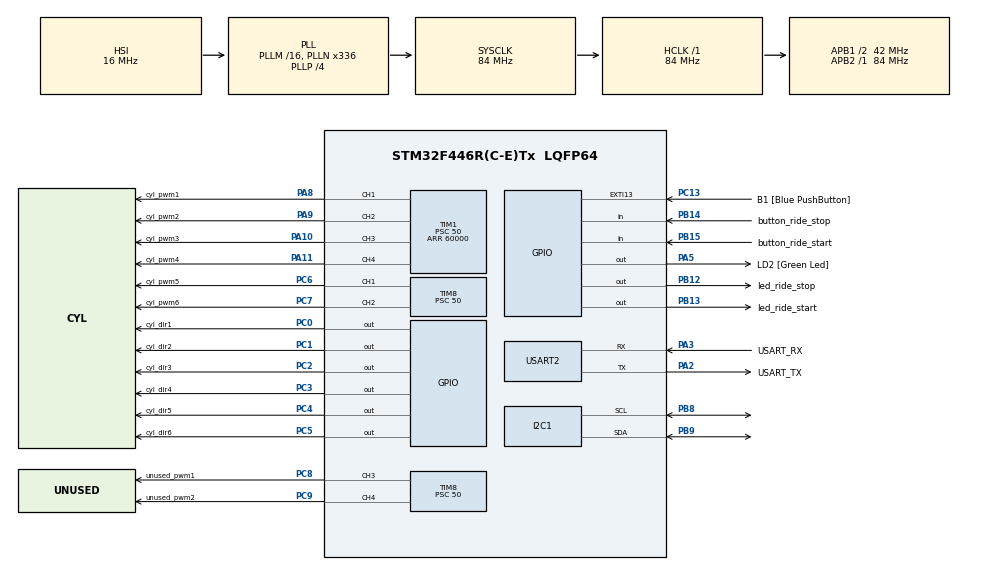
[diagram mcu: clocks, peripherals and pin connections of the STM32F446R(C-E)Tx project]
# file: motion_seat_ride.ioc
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Mcu.Family=STM32F4
Mcu.Name=STM32F446R(C-E)Tx
Mcu.Package=LQFP64
NVIC.PriorityGroup=NVIC_PRIORITYGROUP_0
PA10.GPIO_Label=cyl_pwm3
PA10.GPIO_ModeDefaultPP=GPIO_MODE_AF_OD
PA10.GPIO_PuPd=GPIO_NOPULL
PA10.GPIO_Speed=GPIO_SPEED_FREQ_LOW
PA10.Signal=S_TIM1_CH3
PA11.GPIO_Label=cyl_pwm4
PA11.GPIO_ModeDefaultPP=GPIO_MODE_AF_OD
PA11.GPIO_PuPd=GPIO_NOPULL
PA11.GPIO_Speed=GPIO_SPEED_FREQ_LOW
PA11.Signal=S_TIM1_CH4
PA13.GPIO_Label=TMS
PA13.Mode=JTAG_4_pins
PA13.Signal=SYS_JTMS-SWDIO
PA14.GPIO_Label=TCK
PA14.Mode=JTAG_4_pins
PA14.Signal=SYS_JTCK-SWCLK
PA15.Mode=JTAG_4_pins
PA15.Signal=SYS_JTDI
PA2.GPIO_Label=USART_TX
PA2.Mode=Asynchronous
PA2.Signal=USART2_TX
PA3.GPIO_Label=USART_RX
PA3.Mode=Asynchronous
PA3.Signal=USART2_RX
PA5.GPIO_Label=LD2 [Green Led]
PA5.Signal=GPIO_Output
PA8.GPIO_Label=cyl_pwm1
PA8.GPIO_ModeDefaultPP=GPIO_MODE_AF_OD
PA8.GPIO_PuPd=GPIO_NOPULL
PA8.GPIO_Speed=GPIO_SPEED_FREQ_LOW
PA8.Signal=S_TIM1_CH1
PA9.GPIO_Label=cyl_pwm2
PA9.GPIO_ModeDefaultPP=GPIO_MODE_AF_OD
PA9.GPIO_PuPd=GPIO_NOPULL
PA9.GPIO_Speed=GPIO_SPEED_FREQ_LOW
PA9.Signal=S_TIM1_CH2
PB12.GPIO_Label=led_ride_stop
PB12.Signal=GPIO_Output
PB13.GPIO_Label=led_ride_start
PB13.Signal=GPIO_Output
PB14.GPIO_Label=button_ride_stop
PB14.GPIO_PuPd=GPIO_PULLDOWN
PB14.Signal=GPIO_Input
PB15.GPIO_Label=button_ride_start
PB15.GPIO_PuPd=GPIO_PULLDOWN
PB15.Signal=GPIO_Input
PB3.GPIO_Label=SWO
PB3.Mode=JTAG_4_pins
PB3.Signal=SYS_JTDO-SWO
PB8.GPIO_Pu=GPIO_NOPULL
PB8.Mode=I2C
PB8.Signal=I2C1_SCL
PB9.GPIO_Pu=GPIO_NOPULL
PB9.Mode=I2C
PB9.Signal=I2C1_SDA
PC0.GPIO_Label=cyl_dir1
PC0.GPIO_ModeDefaultOutputPP=GPIO_MODE_OUTPUT_OD
PC0.GPIO_PuPd=GPIO_NOPULL
PC0.Signal=GPIO_Output
PC1.GPIO_Label=cyl_dir2
PC1.GPIO_ModeDefaultOutputPP=GPIO_MODE_OUTPUT_OD
PC1.GPIO_PuPd=GPIO_NOPULL
PC1.Signal=GPIO_Output
PC13.GPIO_Label=B1 [Blue PushButton]
PC13.GPIO_ModeDefaultEXTI=GPIO_MODE_IT_FALLING
PC13.Signal=GPXTI13
PC14-OSC32_IN.Signal=RCC_OSC32_IN
PC15-OSC32_OUT.Signal=RCC_OSC32_OUT
PC2.GPIO_Label=cyl_dir3
PC2.GPIO_ModeDefaultOutputPP=GPIO_MODE_OUTPUT_OD
PC2.GPIO_PuPd=GPIO_NOPULL
PC2.Signal=GPIO_Output
PC3.GPIO_Label=cyl_dir4
PC3.GPIO_ModeDefaultOutputPP=GPIO_MODE_OUTPUT_OD
PC3.GPIO_PuPd=GPIO_NOPULL
PC3.Signal=GPIO_Output
PC4.GPIO_Label=cyl_dir5
PC4.GPIO_ModeDefaultOutputPP=GPIO_MODE_OUTPUT_OD
PC4.GPIO_PuPd=GPIO_NOPULL
PC4.Signal=GPIO_Output
PC5.GPIO_Label=cyl_dir6
PC5.GPIO_ModeDefaultOutputPP=GPIO_MODE_OUTPUT_OD
PC5.GPIO_PuPd=GPIO_NOPULL
PC5.Signal=GPIO_Output
PC6.GPIO_Label=cyl_pwm5
PC6.GPIO_ModeDefaultPP=GPIO_MODE_AF_OD
PC6.GPIO_PuPd=GPIO_NOPULL
PC6.GPIO_Speed=GPIO_SPEED_FREQ_LOW
PC6.Signal=S_TIM8_CH1
PC7.GPIO_Label=cyl_pwm6
PC7.GPIO_ModeDefaultPP=GPIO_MODE_AF_OD
PC7.GPIO_PuPd=GPIO_NOPULL
PC7.GPIO_Speed=GPIO_SPEED_FREQ_LOW
PC7.Signal=S_TIM8_CH2
PC8.GPIO_Label=unused_pwm1
PC8.GPIO_ModeDefaultPP=GPIO_MODE_AF_OD
PC8.GPIO_PuPd=GPIO_NOPULL
PC8.GPIO_Speed=GPIO_SPEED_FREQ_LOW
PC8.Signal=S_TIM8_CH3
PC9.GPIO_Label=unused_pwm2
PC9.GPIO_ModeDefaultPP=GPIO_MODE_AF_OD
PC9.GPIO_PuPd=GPIO_NOPULL
PC9.GPIO_Speed=GPIO_SPEED_FREQ_LOW
PC9.Signal=S_TIM8_CH4
PH0-OSC_IN.Signal=RCC_OSC_IN
PH1-OSC_OUT.Signal=RCC_OSC_OUT
ProjectManager.HeapSize=0x200
ProjectManager.StackSize=0x400
ProjectManager.TargetToolchain=Makefile
RCC.AHBFreq_Value=84000000
RCC.APB1CLKDivider=RCC_HCLK_DIV2
RCC.APB1Freq_Value=42000000
RCC.APB1TimFreq_Value=84000000
RCC.APB2Freq_Value=84000000
RCC.APB2TimFreq_Value=84000000
RCC.CortexFreq_Value=84000000
RCC.FLatency-AdvancedSettings=FLASH_LATENCY_2
RCC.HCLKFreq_Value=84000000
RCC.HSE_VALUE=8000000
RCC.HSI_VALUE=16000000
RCC.LSE_VALUE=32768
RCC.PLLN=336
RCC.PLLP=RCC_PLLP_DIV4
RCC.SYSCLKFreq_VALUE=84000000
RCC.SYSCLKSource=RCC_SYSCLKSOURCE_PLLCLK
RCC.USBFreq_Value=168000000
RCC.VCOOutputFreq_Value=336000000
SH.S_TIM1_CH1.0=TIM1_CH1,PWM Generation1 CH1
SH.S_TIM1_CH2.0=TIM1_CH2,PWM Generation2 CH2
SH.S_TIM1_CH3.0=TIM1_CH3,PWM Generation3 CH3
SH.S_TIM1_CH4.0=TIM1_CH4,PWM Generation4 CH4
SH.S_TIM8_CH1.0=TIM8_CH1,PWM Generation1 CH1
SH.S_TIM8_CH2.0=TIM8_CH2,Output Compare2 CH2
SH.S_TIM8_CH3.0=TIM8_CH3,Output Compare3 CH3
SH.S_TIM8_CH4.0=TIM8_CH4,Output Compare4 CH4
TIM1.Channel-PWM\ Generation1\ CH1=TIM_CHANNEL_1
TIM1.Channel-PWM\ Generation2\ CH2=TIM_CHANNEL_2
TIM1.Channel-PWM\ Generation3\ CH3=TIM_CHANNEL_3
TIM1.Channel-PWM\ Generation4\ CH4=TIM_CHANNEL_4
TIM1.ClockDivision=TIM_CLOCKDIVISION_DIV1
TIM1.Period=60000
TIM1.Prescaler=50
TIM8.Channel-Output\ Compare2\ CH2=TIM_CHANNEL_2
TIM8.Channel-Output\ Compare3\ CH3=TIM_CHANNEL_3
TIM8.Channel-Output\ Compare4\ CH4=TIM_CHANNEL_4
TIM8.Channel-PWM\ Generation1\ CH1=TIM_CHANNEL_1
TIM8.Period=60000
TIM8.Prescaler=50
USART2.VirtualMode=VM_ASYNC
VP_TIM1_VS_ClockSourceINT.Mode=Internal
VP_TIM8_VS_ClockSourceINT.Mode=Internal
board=NUCLEO-F446RE

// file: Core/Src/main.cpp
/**
  ******************************************************************************
  * @file           : main.cpp
  * @brief          : Main program body
  * @authors Paul Sampson and Kelvin Hoang
  ******************************************************************************
  */

#include <math.h>
#include <stdio.h>
#include <string.h>
#include "stm32f4xx_hal.h"
#include "main.h"
#include "matrixdefs.h"
#include "controller.h"
#include "stewart.h"
#include "distGovernor.h"
#include "cylGovernor.h"

I2C_HandleTypeDef hi2c1;
UART_HandleTypeDef huart2;
TIM_HandleTypeDef htim1;
TIM_HandleTypeDef htim8;

void SystemClock_Config(void);
static void MX_GPIO_Init(void);
static void MX_USART2_UART_Init(void);
static void MX_TIM1_Init(void);
static void MX_TIM8_Init(void);
static void MX_I2C1_Init(void);

uint8_t myState = 0;

int main(void)
{
  /* USER CODE BEGIN 1 */
  Stewart stew;
  fArr3 rpyInitial = {0,0,0};
  fArr3 rpyFinal = {0.314, 0.128, 0.981};
  fArr6 lengthsInitial = stew.xfmLinPos(rpyInitial);
  fArr6 lengthsFinal = stew.xfmLinPos(rpyFinal);
  Controller myCtrl;
  CylGov myCG;
  DistGov myDG(hi2c1);

  //myDG.e_fuse_run(0, 0x10);

  //myDI.e_fuse_run(0x10);

  /* USER CODE END 1 */

  /* MCU Configuration--------------------------------------------------------*/

  /* Reset of all peripherals, Initializes the Flash interface and the Systick. */
  HAL_Init();

  /* Configure the system clock */
  SystemClock_Config();

  /* Initialize all configured peripherals */
  MX_GPIO_Init();
  MX_USART2_UART_Init();
  MX_TIM1_Init();
  MX_TIM8_Init();
  MX_I2C1_Init();

  /* USER CODE BEGIN 2 */
  HAL_TIM_PWM_Start(&htim1, TIM_CHANNEL_1);
  //HAL_TIM_PWM_Start(&htim8, TIM_CHANNEL_ALL);
  fArr6 lengths = lengthsInitial;
  std::array<char,500> uart_buf;
  unsigned int uart_buf_len = 0;

  /* USER CODE END 2 */

  /* Infinite loop */
  /* USER CODE BEGIN WHILE */
  long timeNow = 0;
  long timeLast = 0;
  const long interval = 30000;
  while(true)
  {
    timeNow = HAL_GetTick();
    if(timeNow-timeLast > interval) {
      switch(myState) {
        case 0:
          lengthsFinal[0]=27;
          myState++;
          break;
        case 1:
          lengthsFinal[0]=17;
          myState++;
          break;
        case 2:
          lengthsFinal[0]=22;
          myState = 0;
          break;
      }
      timeLast = timeNow;
    }

    lengths = myDG.readDistances();
    fArr6 lStep = myCtrl.step(lengthsFinal,lengths);
    myCG.setDutyCycles(lStep);

    for (uint8_t j = 0; j < 6; j++) {
      uart_buf_len += sprintf(uart_buf.data() + strlen(uart_buf.data()), "%3.2f ", lengths[j]);
    }
    uart_buf_len += sprintf(uart_buf.data() + strlen(uart_buf.data()), "\r\n");
    //uart_buf_len = sprintf(uart_buf.data(), "%3.2f %i %i \r\n", lStep[0], HAL_GPIO_ReadPin(GPIOA,GPIO_PIN_8),HAL_GPIO_ReadPin(GPIOC,GPIO_PIN_0));
    HAL_UART_Transmit(&huart2,(uint8_t *)uart_buf.data(), uart_buf_len, 100);
    uart_buf_len = 0;
    uart_buf.fill((char)0);
    HAL_Delay(25);
    /* USER CODE END WHILE */

  }

}

  __HAL_RCC_PWR_CLK_ENABLE();
  __HAL_PWR_VOLTAGESCALING_CONFIG(PWR_REGULATOR_VOLTAGE_SCALE3);

  /** Initializes the RCC Oscillators according to the specified parameters
  * in the RCC_OscInitTypeDef structure.
  */
  RCC_OscInitStruct.OscillatorType = RCC_OSCILLATORTYPE_HSI;
  RCC_OscInitStruct.HSIState = RCC_HSI_ON;
  RCC_OscInitStruct.HSICalibrationValue = RCC_HSICALIBRATION_DEFAULT;
  RCC_OscInitStruct.PLL.PLLState = RCC_PLL_ON;
  RCC_OscInitStruct.PLL.PLLSource = RCC_PLLSOURCE_HSI;
  RCC_OscInitStruct.PLL.PLLM = 16;
  RCC_OscInitStruct.PLL.PLLN = 336;
  RCC_OscInitStruct.PLL.PLLP = RCC_PLLP_DIV4;
  RCC_OscInitStruct.PLL.PLLQ = 2;
  RCC_OscInitStruct.PLL.PLLR = 2;
  if (HAL_RCC_OscConfig(&RCC_OscInitStruct) != HAL_OK)
  {
    Error_Handler();
  }

  /** Initializes the CPU, AHB and APB buses clocks
  */
  RCC_ClkInitStruct.ClockType = RCC_CLOCKTYPE_HCLK|RCC_CLOCKTYPE_SYSCLK
                              |RCC_CLOCKTYPE_PCLK1|RCC_CLOCKTYPE_PCLK2;
  RCC_ClkInitStruct.SYSCLKSource = RCC_SYSCLKSOURCE_PLLCLK;
  RCC_ClkInitStruct.AHBCLKDivider = RCC_SYSCLK_DIV1;
  RCC_ClkInitStruct.APB1CLKDivider = RCC_HCLK_DIV2;
  RCC_ClkInitStruct.APB2CLKDivider = RCC_HCLK_DIV1;

  if (HAL_RCC_ClockConfig(&RCC_ClkInitStruct, FLASH_LATENCY_2) != HAL_OK)
  {
    Error_Handler();
  }
}

static void MX_I2C1_Init(void)
{

  hi2c1.Instance = I2C1;
  hi2c1.Init.ClockSpeed = 100000;
  hi2c1.Init.DutyCycle = I2C_DUTYCYCLE_2;
  hi2c1.Init.OwnAddress1 = 0;
  hi2c1.Init.AddressingMode = I2C_ADDRESSINGMODE_7BIT;
  hi2c1.Init.DualAddressMode = I2C_DUALADDRESS_DISABLE;
  hi2c1.Init.OwnAddress2 = 0;
  hi2c1.Init.GeneralCallMode = I2C_GENERALCALL_DISABLE;
  hi2c1.Init.NoStretchMode = I2C_NOSTRETCH_DISABLE;
  if (HAL_I2C_Init(&hi2c1) != HAL_OK)
  {
    Error_Handler();
  }

}

static void MX_TIM1_Init(void)
{

  TIM_ClockConfigTypeDef sClockSourceConfig = {0};
  TIM_MasterConfigTypeDef sMasterConfig = {0};
  TIM_OC_InitTypeDef sConfigOC = {0};
  TIM_BreakDeadTimeConfigTypeDef sBreakDeadTimeConfig = {0};

  htim1.Instance = TIM1;
  htim1.Init.Prescaler = 100;
  htim1.Init.CounterMode = TIM_COUNTERMODE_UP;
  htim1.Init.Period = 60000;
  htim1.Init.ClockDivision = TIM_CLOCKDIVISION_DIV1;
  htim1.Init.RepetitionCounter = 0;
  htim1.Init.AutoReloadPreload = TIM_AUTORELOAD_PRELOAD_DISABLE;
  if (HAL_TIM_Base_Init(&htim1) != HAL_OK)
  {
    Error_Handler();
  }
  sClockSourceConfig.ClockSource = TIM_CLOCKSOURCE_INTERNAL;
  if (HAL_TIM_ConfigClockSource(&htim1, &sClockSourceConfig) != HAL_OK)
  {
    Error_Handler();
  }
  if (HAL_TIM_PWM_Init(&htim1) != HAL_OK)
  {
    Error_Handler();
  }
  sMasterConfig.MasterOutputTrigger = TIM_TRGO_RESET;
  sMasterConfig.MasterSlaveMode = TIM_MASTERSLAVEMODE_DISABLE;
  if (HAL_TIMEx_MasterConfigSynchronization(&htim1, &sMasterConfig) != HAL_OK)
  {
    Error_Handler();
  }
  sConfigOC.OCMode = TIM_OCMODE_PWM1;
  sConfigOC.Pulse = 0;
  sConfigOC.OCPolarity = TIM_OCPOLARITY_HIGH;
  sConfigOC.OCNPolarity = TIM_OCNPOLARITY_HIGH;
  sConfigOC.OCFastMode = TIM_OCFAST_DISABLE;
  sConfigOC.OCIdleState = TIM_OCIDLESTATE_RESET;
  sConfigOC.OCNIdleState = TIM_OCNIDLESTATE_RESET;
  if (HAL_TIM_PWM_ConfigChannel(&htim1, &sConfigOC, TIM_CHANNEL_1) != HAL_OK)
  {
    Error_Handler();
  }
  if (HAL_TIM_PWM_ConfigChannel(&htim1, &sConfigOC, TIM_CHANNEL_2) != HAL_OK)
  {
    Error_Handler();
  }
  if (HAL_TIM_PWM_ConfigChannel(&htim1, &sConfigOC, TIM_CHANNEL_3) != HAL_OK)
  {
    Error_Handler();
  }
  if (HAL_TIM_PWM_ConfigChannel(&htim1, &sConfigOC, TIM_CHANNEL_4) != HAL_OK)
  {
    Error_Handler();
  }
  sBreakDeadTimeConfig.OffStateRunMode = TIM_OSSR_DISABLE;
  sBreakDeadTimeConfig.OffStateIDLEMode = TIM_OSSI_DISABLE;
  sBreakDeadTimeConfig.LockLevel = TIM_LOCKLEVEL_OFF;
  sBreakDeadTimeConfig.DeadTime = 0;
  sBreakDeadTimeConfig.BreakState = TIM_BREAK_DISABLE;
  sBreakDeadTimeConfig.BreakPolarity = TIM_BREAKPOLARITY_HIGH;
  sBreakDeadTimeConfig.AutomaticOutput = TIM_AUTOMATICOUTPUT_DISABLE;
  if (HAL_TIMEx_ConfigBreakDeadTime(&htim1, &sBreakDeadTimeConfig) != HAL_OK)
  {
    Error_Handler();
  }
  HAL_TIM_MspPostInit(&htim1);

}

static void MX_TIM8_Init(void)
{

  TIM_ClockConfigTypeDef sClockSourceConfig = {0};
  TIM_MasterConfigTypeDef sMasterConfig = {0};
  TIM_OC_InitTypeDef sConfigOC = {0};
  TIM_BreakDeadTimeConfigTypeDef sBreakDeadTimeConfig = {0};

  htim8.Instance = TIM8;
  htim8.Init.Prescaler = 500;
  htim8.Init.CounterMode = TIM_COUNTERMODE_UP;
  htim8.Init.Period = 60000;
  htim8.Init.ClockDivision = TIM_CLOCKDIVISION_DIV1;
  htim8.Init.RepetitionCounter = 0;
  htim8.Init.AutoReloadPreload = TIM_AUTORELOAD_PRELOAD_DISABLE;
  if (HAL_TIM_Base_Init(&htim8) != HAL_OK)
  {
    Error_Handler();
  }
  sClockSourceConfig.ClockSource = TIM_CLOCKSOURCE_INTERNAL;
  if (HAL_TIM_ConfigClockSource(&htim8, &sClockSourceConfig) != HAL_OK)
  {
    Error_Handler();
  }
  if (HAL_TIM_PWM_Init(&htim8) != HAL_OK)
  {
    Error_Handler();
  }
  if (HAL_TIM_OC_Init(&htim8) != HAL_OK)
  {
    Error_Handler();
  }
  sMasterConfig.MasterOutputTrigger = TIM_TRGO_RESET;
  sMasterConfig.MasterSlaveMode = TIM_MASTERSLAVEMODE_DISABLE;
  if (HAL_TIMEx_MasterConfigSynchronization(&htim8, &sMasterConfig) != HAL_OK)
  {
    Error_Handler();
  }
  sConfigOC.OCMode = TIM_OCMODE_PWM1;
  sConfigOC.Pulse = 0;
  sConfigOC.OCPolarity = TIM_OCPOLARITY_HIGH;
  sConfigOC.OCNPolarity = TIM_OCNPOLARITY_HIGH;
  sConfigOC.OCFastMode = TIM_OCFAST_DISABLE;
  sConfigOC.OCIdleState = TIM_OCIDLESTATE_RESET;
  sConfigOC.OCNIdleState = TIM_OCNIDLESTATE_RESET;
  if (HAL_TIM_PWM_ConfigChannel(&htim8, &sConfigOC, TIM_CHANNEL_1) != HAL_OK)
  {
    Error_Handler();
  }
  sConfigOC.OCMode = TIM_OCMODE_TIMING;
  if (HAL_TIM_OC_ConfigChannel(&htim8, &sConfigOC, TIM_CHANNEL_2) != HAL_OK)
  {
    Error_Handler();
  }
  if (HAL_TIM_OC_ConfigChannel(&htim8, &sConfigOC, TIM_CHANNEL_3) != HAL_OK)
  {
    Error_Handler();
  }
  if (HAL_TIM_OC_ConfigChannel(&htim8, &sConfigOC, TIM_CHANNEL_4) != HAL_OK)
  {
    Error_Handler();
  }
  sBreakDeadTimeConfig.OffStateRunMode = TIM_OSSR_DISABLE;
  sBreakDeadTimeConfig.OffStateIDLEMode = TIM_OSSI_DISABLE;
  sBreakDeadTimeConfig.LockLevel = TIM_LOCKLEVEL_OFF;
  sBreakDeadTimeConfig.DeadTime = 0;
  sBreakDeadTimeConfig.BreakState = TIM_BREAK_DISABLE;
  sBreakDeadTimeConfig.BreakPolarity = TIM_BREAKPOLARITY_HIGH;
  sBreakDeadTimeConfig.AutomaticOutput = TIM_AUTOMATICOUTPUT_DISABLE;
  if (HAL_TIMEx_ConfigBreakDeadTime(&htim8, &sBreakDeadTimeConfig) != HAL_OK)
  {
    Error_Handler();
  }
  HAL_TIM_MspPostInit(&htim8);

}

static void MX_USART2_UART_Init(void)
{

  huart2.Instance = USART2;
  huart2.Init.BaudRate = 115200;
  huart2.Init.WordLength = UART_WORDLENGTH_8B;
  huart2.Init.StopBits = UART_STOPBITS_1;
  huart2.Init.Parity = UART_PARITY_NONE;
  huart2.Init.Mode = UART_MODE_TX_RX;
  huart2.Init.HwFlowCtl = UART_HWCONTROL_NONE;
  huart2.Init.OverSampling = UART_OVERSAMPLING_16;
  if (HAL_UART_Init(&huart2) != HAL_OK)
  {
    Error_Handler();
  }

}

static void MX_GPIO_Init(void)
{
  GPIO_InitTypeDef GPIO_InitStruct = {0};

  /* GPIO Ports Clock Enable */
  __HAL_RCC_GPIOC_CLK_ENABLE();
  __HAL_RCC_GPIOH_CLK_ENABLE();
  __HAL_RCC_GPIOA_CLK_ENABLE();
  __HAL_RCC_GPIOB_CLK_ENABLE();

  /*Configure GPIO pin Output Level */
  HAL_GPIO_WritePin(GPIOC, GPIO_PIN_0|GPIO_PIN_1|GPIO_PIN_2|GPIO_PIN_3
                          |GPIO_PIN_4|GPIO_PIN_5, GPIO_PIN_RESET);

  /*Configure GPIO pin Output Level */
  HAL_GPIO_WritePin(LD2_GPIO_Port, LD2_Pin, GPIO_PIN_RESET);

  /*Configure GPIO pin : B1_Pin */
  GPIO_InitStruct.Pin = B1_Pin;
  GPIO_InitStruct.Mode = GPIO_MODE_IT_FALLING;
  GPIO_InitStruct.Pull = GPIO_NOPULL;
  HAL_GPIO_Init(B1_GPIO_Port, &GPIO_InitStruct);

  /*Configure GPIO pins : USART_TX_Pin USART_RX_Pin */
  GPIO_InitStruct.Pin = USART_TX_Pin|USART_RX_Pin;
  GPIO_InitStruct.Mode = GPIO_MODE_AF_PP;
  GPIO_InitStruct.Pull = GPIO_NOPULL;
  GPIO_InitStruct.Speed = GPIO_SPEED_FREQ_VERY_HIGH;
  GPIO_InitStruct.Alternate = GPIO_AF7_USART2;
  HAL_GPIO_Init(GPIOA, &GPIO_InitStruct);

  /*Configure GPIO pins : PC0 PC1 PC2 PC3
                           PC4 PC5 */
  GPIO_InitStruct.Pin = GPIO_PIN_0|GPIO_PIN_1|GPIO_PIN_2|GPIO_PIN_3
                          |GPIO_PIN_4|GPIO_PIN_5;
  GPIO_InitStruct.Mode = GPIO_MODE_OUTPUT_OD;
  GPIO_InitStruct.Pull = GPIO_NOPULL;
  GPIO_InitStruct.Speed = GPIO_SPEED_FREQ_LOW;
  HAL_GPIO_Init(GPIOC, &GPIO_InitStruct);

  /*Configure GPIO pin Output Level */
  HAL_GPIO_WritePin(GPIOA, LD2_Pin|GPIO_PIN_11, GPIO_PIN_RESET);

  /*Configure GPIO pin : LD2_Pin */
  GPIO_InitStruct.Pin = LD2_Pin;
  GPIO_InitStruct.Mode = GPIO_MODE_OUTPUT_PP;
  GPIO_InitStruct.Pull = GPIO_NOPULL;
  GPIO_InitStruct.Speed = GPIO_SPEED_FREQ_LOW;
  HAL_GPIO_Init(LD2_GPIO_Port, &GPIO_InitStruct);

    /*Configure GPIO pin : PA11 */
  GPIO_InitStruct.Pin = GPIO_PIN_11;
  GPIO_InitStruct.Mode = GPIO_MODE_OUTPUT_OD;
  GPIO_InitStruct.Pull = GPIO_NOPULL;
  GPIO_InitStruct.Speed = GPIO_SPEED_FREQ_LOW;
  HAL_GPIO_Init(GPIOA, &GPIO_InitStruct);

}

/* USER CODE BEGIN 4 */
void printlengths(fArr6 l) {
  char uart_buf[500];
  unsigned int uart_buf_len = 0;
  for (uint8_t j = 0; j < 6; j++) {
    uart_buf_len += sprintf(uart_buf + strlen(uart_buf), "%3.2f ", l[j]);
  }
  uart_buf_len += sprintf(uart_buf + strlen(uart_buf), "\r\n");
  HAL_UART_Transmit(&huart2,(uint8_t *)uart_buf, uart_buf_len, 10);
}
/* USER CODE END 4 */

void Error_Handler(void)
{
  __disable_irq();
  while (1)
  {
  }
}
